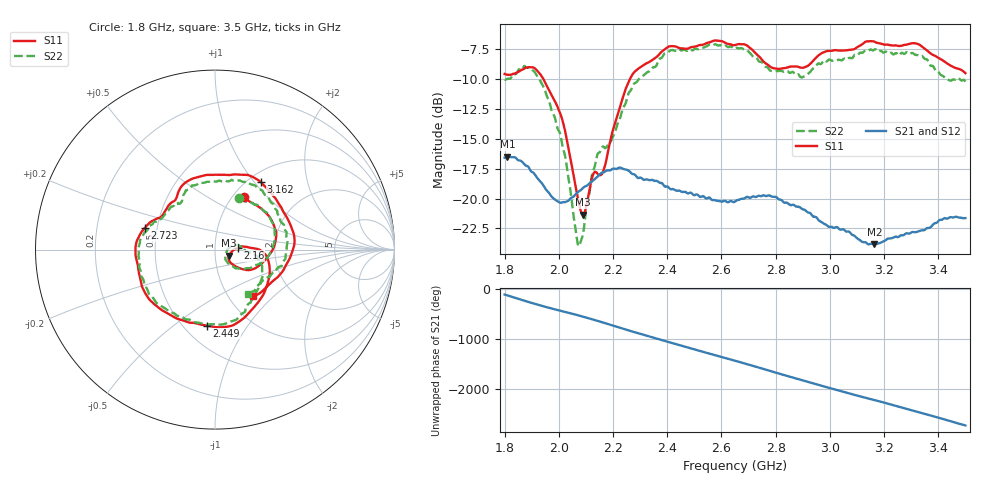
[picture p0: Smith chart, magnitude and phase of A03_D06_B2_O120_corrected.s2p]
! Created with skrf 1.9.0 (http://scikit-rf.org).
# Hz S RI R 50.0
!freq ReS11 ImS11 ReS21 ImS21 ReS12 ImS12 ReS22 ImS22
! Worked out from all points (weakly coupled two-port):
!   1601 points, 1.8 GHz to 3.5 GHz, reference 50 ohm
!   highest |S21| = -16.50 dB at 1.811 GHz (marker M1); lowest = -23.8 dB at 3.164 GHz (marker M2)
!   lowest |S11| = -21.4 dB at 2.089 GHz (marker M3), VSWR 1.19, Z = 58.4 - j4.01 ohm
!   |S11| at or under -10 dB: 1.943 GHz to 2.262 GHz (318.6 MHz wide, 15.2 % of centre)
!   |S22| runs from -24.0 to -7.1 dB; largest |S21 - S12| = 0.0025
!   S11 on the Smith chart (normalised r, x): 1.8 GHz: 1.12, +0.74; 2.16 GHz: 1.29, +0.02; 2.449 GHz: 0.64, -0.67; 2.723 GHz: 0.43, +0.12; 3.162 GHz: 1.14, +1.08; 3.5 GHz: 1.29, -0.75
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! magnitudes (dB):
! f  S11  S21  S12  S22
! 1.8 GHz  -9.6  -16.6  -16.6  -10.0
! 1.811 GHz  -9.6  -16.5  -16.5  -10.0
! 1.88 GHz  -9.0  -17.3  -17.2  -9.0
! 1.941 GHz  -9.9  -18.8  -18.8  -10.6
! 2.013 GHz  -13.4  -20.3  -20.3  -15.5
! 2.067 GHz  -19.6  -19.5  -19.5  -23.4
! 2.084 GHz  -21.2  -19.2  -19.2  -23.4
! 2.089 GHz  -21.4  -19.1  -19.1  -23.0
! 2.126 GHz  -18.0  -18.5  -18.5  -17.7
! 2.16 GHz  -17.9  -17.8  -17.8  -15.7
! 2.26 GHz  -10.1  -17.7  -17.7  -11.1
! 2.367 GHz  -8.0  -18.6  -18.6  -8.4
! 2.449 GHz  -7.4  -19.4  -19.4  -7.6
! 2.65 GHz  -7.1  -20.2  -20.2  -7.4
! 2.723 GHz  -7.8  -19.9  -19.8  -8.2
! 2.8 GHz  -9.1  -19.9  -19.9  -9.3
! 2.934 GHz  -8.6  -21.4  -21.4  -9.2
! 3.162 GHz  -6.8  -23.8  -23.8  -7.6
! 3.164 GHz  -6.9  -23.8  -23.8  -7.5
! 3.217 GHz  -7.1  -23.3  -23.3  -7.8
! 3.324 GHz  -7.0  -22.8  -22.7  -8.0
! 3.5 GHz  -9.5  -21.6  -21.6  -10.2
